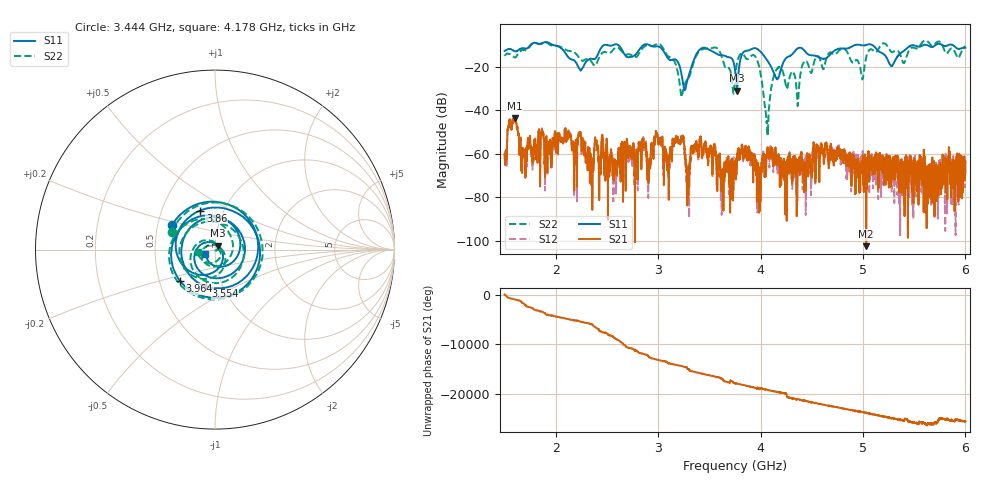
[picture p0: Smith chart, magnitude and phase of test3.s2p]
!Keysight Technologies N9923A: A.08.15
!Date: Monday, 19 February 2024 15:48:35
!Timezone: (GMT-05:00) Eastern Time (US & Canada)
!Model: N9923A
!Serial: MY52412730
!GPS Latitude:
!GPS Longitude:
!GPS TimeStamp: 0001-01-01 00:00:00Z
!GPS Seconds Since Last Read: 0
!CHECKSUM:0874157267
!Correction: S11(ON Q)S21(ON Q)S12(ON Q)S22(ON Q)
!S2P File: Measurements:S11,S21,S12,S22:
# Hz S DB R 50
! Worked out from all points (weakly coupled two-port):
!   4001 points, 1.5 GHz to 6 GHz, reference 50 ohm
!   highest |S21| = -43.66 dB at 1.599 GHz (marker M1); lowest = -102.4 dB at 5.031 GHz (marker M2)
!   lowest |S11| = -30.9 dB at 3.769 GHz (marker M3), VSWR 1.06, Z = 51.7 + j2.32 ohm
!   |S11| at or under -10 dB: 1.974 GHz to 2.47 GHz (495.4 MHz wide, 22.3 % of centre); 2.913 GHz to 4.92 GHz (2.007 GHz wide, 51.3 % of centre); 5.092 GHz to 5.591 GHz (498.8 MHz wide, 9.34 % of centre) (the widest 3 of 10)
!   |S22| runs from -51.9 to -7.9 dB; largest |S21 - S12| = 0.001
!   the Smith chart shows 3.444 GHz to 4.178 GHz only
!   S11 on the Smith chart (normalised r, x): 3.444 GHz: 0.59, +0.17; 3.554 GHz: 0.83, -0.36; 3.86 GHz: 0.78, +0.36; 3.964 GHz: 0.64, -0.24; 4.178 GHz: 0.90, -0.05
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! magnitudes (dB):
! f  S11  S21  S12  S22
! 1.5 GHz  -12.7  -60.2  -59.3  -15.0
! 1.599 GHz  -12.9  -43.7  -44.2  -15.7
! 1.685 GHz  -11.5  -59.9  -59.7  -12.4
! 2.25 GHz  -21.3  -57.7  -56.9  -17.0
! 2.581 GHz  -9.6  -67.6  -68.6  -11.2
! 3.001 GHz  -10.6  -55.0  -53.6  -9.4
! 3.092 GHz  -15.9  -62.9  -61.3  -15.0
! 3.234 GHz  -24.9  -53.4  -53.4  -32.7
! 3.29 GHz  -25.4  -67.9  -68.1  -25.5
! 3.444 GHz  -11.2  -57.7  -59.1  -11.7
! 3.554 GHz  -13.5  -57.8  -56.4  -11.1
! 3.75 GHz  -21.2  -70.4  -68.9  -24.8
! 3.769 GHz  -30.9  -60.4  -61.8  -18.4
! 3.86 GHz  -12.7  -59.0  -59.3  -16.2
! 3.964 GHz  -11.7  -82.1  -71.1  -16.5
! 4.062 GHz  -16.8  -61.7  -60.2  -46.9
! 4.178 GHz  -24.5  -62.0  -61.3  -20.2
! 4.361 GHz  -11.6  -63.0  -64.7  -37.0
! 4.5 GHz  -14.7  -70.6  -71.0  -22.3
! 5.031 GHz  -10.0  -102.4  -68.8  -15.6
! 5.251 GHz  -17.7  -70.0  -62.7  -11.4
! 6 GHz  -11.2  -67.9  -68.0  -10.5
